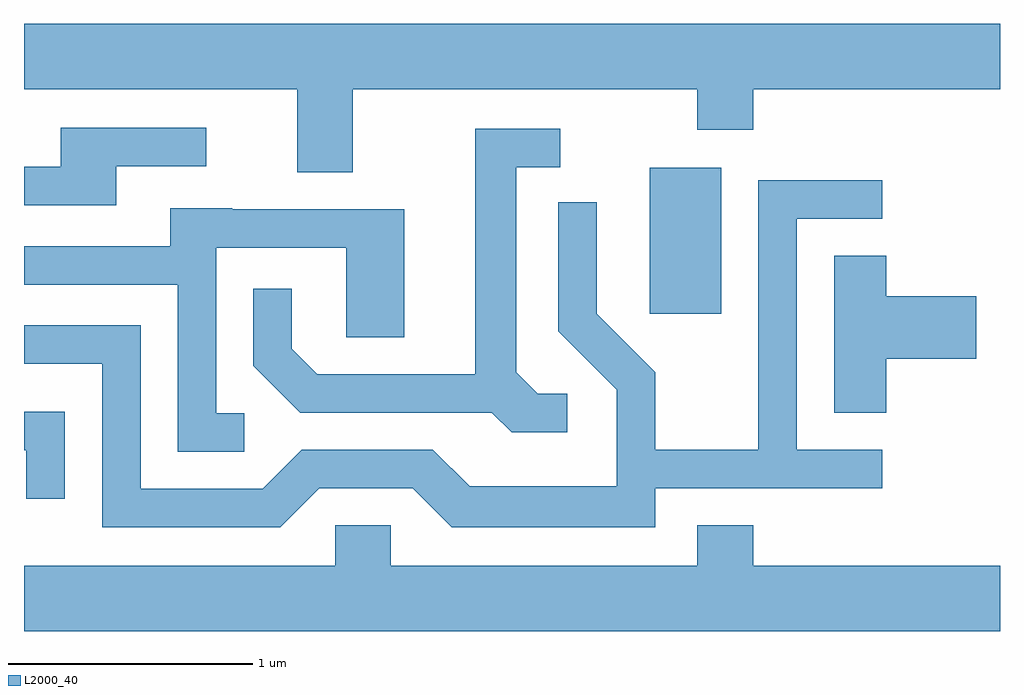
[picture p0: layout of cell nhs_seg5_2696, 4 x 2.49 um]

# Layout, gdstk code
import gdstk
lib = gdstk.Library(unit=1e-6, precision=1e-09)
def R(c, l, rs):  # rectangles x0, y0, x1, y1
    for r in rs: c.add(gdstk.rectangle(r[:2], r[2:], *l))
def P(c, l, *ps):  # polygons
    for p in ps: c.add(gdstk.Polygon(p, *l))
L2000_40 = (2000, 40)

nhs_seg5_2696 = lib.new_cell('nhs_seg5_2696')
R(nhs_seg5_2696, L2000_40, [(268.176,1440.336,268.469,1440.934)])
P(nhs_seg5_2696, L2000_40, [(266.959,1441.256),(268.371,1441.256),(268.371,1441.091),(268.599,1441.091),(268.599,1441.256),(269.611,1441.256),(269.611,1441.524),(265.611,1441.524),(265.611,1441.256),(266.731,1441.256),(266.731,1440.916),(266.959,1440.916)],
  [(265.989,1440.941),(266.358,1440.941),(266.358,1441.099),(265.761,1441.099),(265.761,1440.939),(265.611,1440.939),(265.611,1440.781),(265.989,1440.781)],
  [(267.838,1440.009),(267.717,1440.009),(267.629,1440.097),(267.629,1440.936),(267.808,1440.936),(267.808,1441.094),(267.461,1441.094),(267.461,1440.089),(266.812,1440.089),(266.709,1440.192),(266.709,1440.438),(266.551,1440.438),(266.551,1440.124),(266.744,1439.931),(267.529,1439.931),(267.609,1439.851),(267.838,1439.851)],
  [(266.822,1439.621),(267.204,1439.621),(267.364,1439.461),(268.199,1439.461),(268.199,1439.621),(269.128,1439.621),(269.128,1439.779),(268.779,1439.779),(268.779,1440.726),(269.128,1440.726),(269.128,1440.884),(268.621,1440.884),(268.621,1439.779),(268.199,1439.779),(268.199,1440.097),(267.959,1440.337),(267.959,1440.793),(267.801,1440.793),(267.801,1440.264),(268.041,1440.024),(268.041,1439.629),(267.437,1439.629),(267.287,1439.779),(266.749,1439.779),(266.589,1439.619),(266.089,1439.619),(266.089,1440.289),(265.611,1440.289),(265.611,1440.131),(265.931,1440.131),(265.931,1439.461),(266.662,1439.461)],
  [(266.513,1439.929),(266.399,1439.929),(266.399,1440.606),(266.931,1440.606),(266.931,1440.241),(267.169,1440.241),(267.169,1440.764),(266.465,1440.764),(266.465,1440.769),(266.211,1440.769),(266.211,1440.614),(265.611,1440.614),(265.611,1440.456),(266.241,1440.456),(266.241,1439.771),(266.513,1439.771)],
  [(269.144,1440.151),(269.514,1440.151),(269.514,1440.409),(269.144,1440.409),(269.144,1440.574),(268.931,1440.574),(268.931,1439.931),(269.144,1439.931)],
  [(265.779,1439.934),(265.611,1439.934),(265.611,1439.776),(265.621,1439.776),(265.621,1439.578),(265.779,1439.578)],
  [(269.611,1439.304),(268.599,1439.304),(268.599,1439.469),(268.371,1439.469),(268.371,1439.304),(267.114,1439.304),(267.114,1439.469),(266.886,1439.469),(266.886,1439.304),(265.611,1439.304),(265.611,1439.036),(269.611,1439.036)])

lib.write_gds('nhs_seg5_2696.gds')
